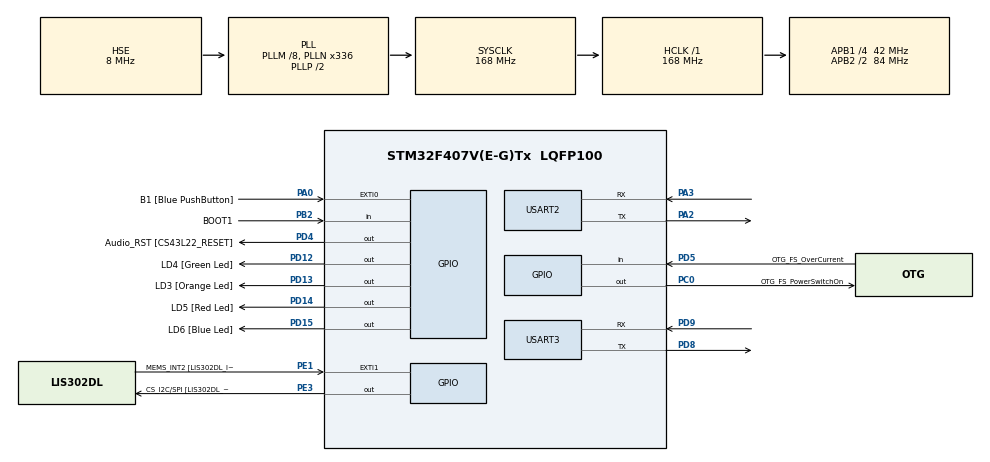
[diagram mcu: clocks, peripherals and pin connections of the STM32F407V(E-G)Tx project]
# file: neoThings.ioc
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FREERTOS.Queues01=workQueue,16,uint16_t,0,Dynamic,NULL,NULL
FREERTOS.Tasks01=modemTask,24,128,StartModemTask,Default,NULL,Dynamic,NULL,NULL;canbusTask,8,128,StartCanBus,Default,NULL,Dynamic,NULL,NULL
FREERTOS.configUSE_NEWLIB_REENTRANT=1
Mcu.Family=STM32F4
Mcu.Name=STM32F407V(E-G)Tx
Mcu.Package=LQFP100
NVIC.PriorityGroup=NVIC_PRIORITYGROUP_4
NVIC.TIM6_DAC_IRQn=true\:15\:0\:false\:false\:true\:false\:false\:true\:true
NVIC.TimeBase=TIM6_DAC_IRQn
NVIC.TimeBaseIP=TIM6
PA0-WKUP.GPIO_Label=B1 [Blue PushButton]
PA0-WKUP.GPIO_ModeDefaultEXTI=GPIO_MODE_EVT_RISING
PA0-WKUP.GPIO_PuPd=GPIO_NOPULL
PA0-WKUP.Signal=GPXTI0
PA10.GPIO_Label=OTG_FS_ID
PA10.GPIO_Mode=GPIO_MODE_AF_PP
PA10.GPIO_PuPd=GPIO_NOPULL
PA10.GPIO_Speed=GPIO_SPEED_FREQ_LOW
PA10.Signal=USB_OTG_FS_ID
PA11.GPIO_Label=OTG_FS_DM
PA11.GPIO_Mode=GPIO_MODE_AF_PP
PA11.GPIO_PuPd=GPIO_NOPULL
PA11.GPIO_Speed=GPIO_SPEED_FREQ_LOW
PA11.Signal=USB_OTG_FS_DM
PA12.GPIO_Label=OTG_FS_DP
PA12.GPIO_Mode=GPIO_MODE_AF_PP
PA12.GPIO_PuPd=GPIO_NOPULL
PA12.GPIO_Speed=GPIO_SPEED_FREQ_LOW
PA12.Signal=USB_OTG_FS_DP
PA13.GPIO_Label=SWDIO
PA13.Mode=Serial_Wire
PA13.Signal=SYS_JTMS-SWDIO
PA14.GPIO_Label=SWCLK
PA14.Mode=Serial_Wire
PA14.Signal=SYS_JTCK-SWCLK
PA2.Mode=Asynchronous
PA2.Signal=USART2_TX
PA3.Mode=Asynchronous
PA3.Signal=USART2_RX
PA4.GPIO_Label=I2S3_WS [CS43L22_LRCK]
PA4.GPIO_Mode=GPIO_MODE_AF_PP
PA4.GPIO_PuPd=GPIO_NOPULL
PA4.GPIO_Speed=GPIO_SPEED_FREQ_LOW
PA4.Signal=I2S3_WS
PA5.GPIO_Label=SPI1_SCK [LIS302DL_SCL/SPC]
PA5.GPIO_Mode=GPIO_MODE_AF_PP
PA5.GPIO_PuPd=GPIO_NOPULL
PA5.GPIO_Speed=GPIO_SPEED_FREQ_LOW
PA5.Signal=SPI1_SCK
PA6.GPIO_Label=SPI1_MISO [LIS302DL_SDO]
PA6.GPIO_Mode=GPIO_MODE_AF_PP
PA6.GPIO_PuPd=GPIO_NOPULL
PA6.GPIO_Speed=GPIO_SPEED_FREQ_LOW
PA6.Signal=SPI1_MISO
PA7.GPIO_Label=SPI1_MOSI [LIS302DL_SDA/SDI/SDO]
PA7.GPIO_Mode=GPIO_MODE_AF_PP
PA7.GPIO_PuPd=GPIO_NOPULL
PA7.GPIO_Speed=GPIO_SPEED_FREQ_LOW
PA7.Signal=SPI1_MOSI
PA9.GPIO_Label=VBUS_FS
PA9.GPIO_Mode=GPIO_MODE_INPUT
PA9.GPIO_PuPd=GPIO_NOPULL
PA9.Signal=USB_OTG_FS_VBUS
PB10.GPIO_Label=CLK_IN [MP45DT02_CLK]
PB10.GPIO_Mode=GPIO_MODE_AF_PP
PB10.GPIO_PuPd=GPIO_NOPULL
PB10.GPIO_Speed=GPIO_SPEED_FREQ_LOW
PB10.Signal=I2S2_CK
PB2.GPIO_Label=BOOT1
PB2.GPIO_Mode=GPIO_MODE_INPUT
PB2.GPIO_PuPd=GPIO_NOPULL
PB2.Signal=GPIO_Input
PB3.GPIO_Label=SWO
PB3.Signal=SYS_JTDO-SWO
PB6.GPIO_Label=Audio_SCL [CS43L22_SCL]
PB6.GPIO_Mode=GPIO_MODE_AF_OD
PB6.GPIO_Pu=GPIO_PULLUP
PB6.GPIO_PuPd=GPIO_NOPULL
PB6.GPIO_Speed=GPIO_SPEED_FREQ_LOW
PB6.Signal=I2C1_SCL
PB9.GPIO_Label=Audio_SDA [CS43L22_SDA]
PB9.GPIO_Mode=GPIO_MODE_AF_OD
PB9.GPIO_Pu=GPIO_PULLUP
PB9.GPIO_PuPd=GPIO_NOPULL
PB9.GPIO_Speed=GPIO_SPEED_FREQ_LOW
PB9.Signal=I2C1_SDA
PC0.GPIO_Label=OTG_FS_PowerSwitchOn
PC0.GPIO_PuPd=GPIO_NOPULL
PC0.GPIO_Speed=GPIO_SPEED_FREQ_LOW
PC0.PinState=GPIO_PIN_SET
PC0.Signal=GPIO_Output
PC10.GPIO_Label=I2S3_SCK [CS43L22_SCLK]
PC10.GPIO_Mode=GPIO_MODE_AF_PP
PC10.GPIO_PuPd=GPIO_NOPULL
PC10.GPIO_Speed=GPIO_SPEED_FREQ_LOW
PC10.Signal=I2S3_CK
PC12.GPIO_Label=I2S3_SD [CS43L22_SDIN]
PC12.GPIO_Mode=GPIO_MODE_AF_PP
PC12.GPIO_PuPd=GPIO_NOPULL
PC12.GPIO_Speed=GPIO_SPEED_FREQ_LOW
PC12.Signal=I2S3_SD
PC14-OSC32_IN.GPIO_Label=PC14-OSC32_IN
PC14-OSC32_IN.Mode=LSE-External-Oscillator
PC14-OSC32_IN.Signal=RCC_OSC32_IN
PC15-OSC32_OUT.GPIO_Label=PC15-OSC32_OUT
PC15-OSC32_OUT.Mode=LSE-External-Oscillator
PC15-OSC32_OUT.Signal=RCC_OSC32_OUT
PC3.GPIO_Label=PDM_OUT [MP45DT02_DOUT]
PC3.GPIO_Mode=GPIO_MODE_AF_PP
PC3.GPIO_PuPd=GPIO_NOPULL
PC3.GPIO_Speed=GPIO_SPEED_FREQ_LOW
PC3.Signal=I2S2_SD
PC7.GPIO_Label=I2S3_MCK [CS43L22_MCLK]
PC7.GPIO_Mode=GPIO_MODE_AF_PP
PC7.GPIO_PuPd=GPIO_NOPULL
PC7.GPIO_Speed=GPIO_SPEED_FREQ_LOW
PC7.Signal=I2S3_MCK
PD12.GPIO_Label=LD4 [Green Led]
PD12.GPIO_PuPd=GPIO_NOPULL
PD12.GPIO_Speed=GPIO_SPEED_FREQ_LOW
PD12.Signal=GPIO_Output
PD13.GPIO_Label=LD3 [Orange Led]
PD13.GPIO_PuPd=GPIO_NOPULL
PD13.GPIO_Speed=GPIO_SPEED_FREQ_LOW
PD13.Signal=GPIO_Output
PD14.GPIO_Label=LD5 [Red Led]
PD14.GPIO_PuPd=GPIO_NOPULL
PD14.GPIO_Speed=GPIO_SPEED_FREQ_LOW
PD14.Signal=GPIO_Output
PD15.GPIO_Label=LD6 [Blue Led]
PD15.GPIO_PuPd=GPIO_NOPULL
PD15.GPIO_Speed=GPIO_SPEED_FREQ_LOW
PD15.Signal=GPIO_Output
PD4.GPIO_Label=Audio_RST [CS43L22_RESET]
PD4.GPIO_PuPd=GPIO_NOPULL
PD4.GPIO_Speed=GPIO_SPEED_FREQ_LOW
PD4.Signal=GPIO_Output
PD5.GPIO_Label=OTG_FS_OverCurrent
PD5.GPIO_Mode=GPIO_MODE_INPUT
PD5.GPIO_PuPd=GPIO_NOPULL
PD5.Signal=GPIO_Input
PD8.Mode=Asynchronous
PD8.Signal=USART3_TX
PD9.Mode=Asynchronous
PD9.Signal=USART3_RX
PE1.GPIO_Label=MEMS_INT2 [LIS302DL_INT2]
PE1.GPIO_ModeDefaultEXTI=GPIO_MODE_EVT_RISING
PE1.GPIO_PuPd=GPIO_NOPULL
PE1.Signal=GPXTI1
PE3.GPIO_Label=CS_I2C/SPI [LIS302DL_CS_I2C/SPI]
PE3.GPIO_PuPd=GPIO_NOPULL
PE3.GPIO_Speed=GPIO_SPEED_FREQ_LOW
PE3.Signal=GPIO_Output
PH0-OSC_IN.GPIO_Label=PH0-OSC_IN
PH0-OSC_IN.Mode=HSE-External-Oscillator
PH0-OSC_IN.Signal=RCC_OSC_IN
PH1-OSC_OUT.GPIO_Label=PH1-OSC_OUT
PH1-OSC_OUT.Mode=HSE-External-Oscillator
PH1-OSC_OUT.Signal=RCC_OSC_OUT
ProjectManager.HeapSize=0x200
ProjectManager.StackSize=0x400
ProjectManager.TargetToolchain=STM32CubeIDE
RCC.48MHZClocksFreq_Value=48000000
RCC.AHBFreq_Value=168000000
RCC.APB1CLKDivider=RCC_HCLK_DIV4
RCC.APB1Freq_Value=42000000
RCC.APB1TimFreq_Value=84000000
RCC.APB2CLKDivider=RCC_HCLK_DIV2
RCC.APB2Freq_Value=84000000
RCC.APB2TimFreq_Value=168000000
RCC.CortexFreq_Value=168000000
RCC.HCLKFreq_Value=168000000
RCC.HSE_VALUE=8000000
RCC.HSI_VALUE=16000000
RCC.PLLM=8
RCC.PLLN=336
RCC.PLLQ=7
RCC.PLLSourceVirtual=RCC_PLLSOURCE_HSE
RCC.SYSCLKFreq_VALUE=168000000
RCC.SYSCLKSource=RCC_SYSCLKSOURCE_PLLCLK
RCC.VCOOutputFreq_Value=336000000
USART2.VirtualMode=VM_ASYNC
USART3.VirtualMode=VM_ASYNC
VP_FREERTOS_VS_CMSIS_V2.Mode=CMSIS_V2
VP_SYS_VS_tim6.Mode=TIM6
board=STM32F407G-DISC1

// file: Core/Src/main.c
/* USER CODE BEGIN Header */
/**
  ******************************************************************************
  * @file           : main.c
  * @brief          : Main program body
  ******************************************************************************
  * @attention
  *
  * Copyright (c) 2022 STMicroelectronics.
  * All rights reserved.
  *
  * This software is licensed under terms that can be found in the LICENSE file
  * in the root directory of this software component.
  * If no LICENSE file comes with this software, it is provided AS-IS.
  *
  ******************************************************************************
  */
/* USER CODE END Header */
#include "main.h"
#include "cmsis_os.h"

/* USER CODE BEGIN Includes */
#include <string.h>
/* USER CODE END Includes */

/* USER CODE BEGIN PD */
#define	HELLO_CAN_CMD	55
#define	MAX_PAYLOAD_CAN	50
#define	MAX_PAYLOAD_MODEM	50
#define	TIMEOUT_RX_CAN	300
/* USER CODE END PD */

UART_HandleTypeDef huart2;
UART_HandleTypeDef huart3;

/* Definitions for modemTask */
osThreadId_t modemTaskHandle;
const osThreadAttr_t modemTask_attributes = {
  .name = "modemTask",
  .stack_size = 128 * 4,
  .priority = (osPriority_t) osPriorityNormal,
};
/* Definitions for canbusTask */
osThreadId_t canbusTaskHandle;
const osThreadAttr_t canbusTask_attributes = {
  .name = "canbusTask",
  .stack_size = 128 * 4,
  .priority = (osPriority_t) osPriorityNormal,
};
/* Definitions for workQueue */
osMessageQueueId_t workQueueHandle;
const osMessageQueueAttr_t workQueue_attributes = {
  .name = "workQueue"
};

void SystemClock_Config(void);
static void MX_GPIO_Init(void);
static void MX_USART2_UART_Init(void);
static void MX_USART3_UART_Init(void);
void StartModemTask(void *argument);
void StartCanBus(void *argument);

int main(void)
{

  /* MCU Configuration--------------------------------------------------------*/

  /* Reset of all peripherals, Initializes the Flash interface and the Systick. */
  HAL_Init();

  /* Configure the system clock */
  SystemClock_Config();

  /* Initialize all configured peripherals */
  MX_GPIO_Init();
  MX_USART2_UART_Init();
  MX_USART3_UART_Init();

  /* Init scheduler */
  osKernelInitialize();

  /* Create the queue(s) */
  /* creation of workQueue */
  workQueueHandle = osMessageQueueNew (16, sizeof(uint16_t), &workQueue_attributes);

  /* Create the thread(s) */
  /* creation of modemTask */
  modemTaskHandle = osThreadNew(StartModemTask, NULL, &modemTask_attributes);

  /* creation of canbusTask */
  canbusTaskHandle = osThreadNew(StartCanBus, NULL, &canbusTask_attributes);

  /* Start scheduler */
  osKernelStart();

  /* We should never get here as control is now taken by the scheduler */
  /* Infinite loop */
  while (1)
  {

  }
}

void SystemClock_Config(void)
{
  RCC_OscInitTypeDef RCC_OscInitStruct = {0};
  RCC_ClkInitTypeDef RCC_ClkInitStruct = {0};

  /** Configure the main internal regulator output voltage
  */
  __HAL_RCC_PWR_CLK_ENABLE();
  __HAL_PWR_VOLTAGESCALING_CONFIG(PWR_REGULATOR_VOLTAGE_SCALE1);

  /** Initializes the RCC Oscillators according to the specified parameters
  * in the RCC_OscInitTypeDef structure.
  */
  RCC_OscInitStruct.OscillatorType = RCC_OSCILLATORTYPE_HSE;
  RCC_OscInitStruct.HSEState = RCC_HSE_ON;
  RCC_OscInitStruct.PLL.PLLState = RCC_PLL_ON;
  RCC_OscInitStruct.PLL.PLLSource = RCC_PLLSOURCE_HSE;
  RCC_OscInitStruct.PLL.PLLM = 8;
  RCC_OscInitStruct.PLL.PLLN = 336;
  RCC_OscInitStruct.PLL.PLLP = RCC_PLLP_DIV2;
  RCC_OscInitStruct.PLL.PLLQ = 7;
  if (HAL_RCC_OscConfig(&RCC_OscInitStruct) != HAL_OK)
  {
    Error_Handler();
  }

  /** Initializes the CPU, AHB and APB buses clocks
  */
  RCC_ClkInitStruct.ClockType = RCC_CLOCKTYPE_HCLK|RCC_CLOCKTYPE_SYSCLK
                              |RCC_CLOCKTYPE_PCLK1|RCC_CLOCKTYPE_PCLK2;
  RCC_ClkInitStruct.SYSCLKSource = RCC_SYSCLKSOURCE_PLLCLK;
  RCC_ClkInitStruct.AHBCLKDivider = RCC_SYSCLK_DIV1;
  RCC_ClkInitStruct.APB1CLKDivider = RCC_HCLK_DIV4;
  RCC_ClkInitStruct.APB2CLKDivider = RCC_HCLK_DIV2;

  if (HAL_RCC_ClockConfig(&RCC_ClkInitStruct, FLASH_LATENCY_5) != HAL_OK)
  {
    Error_Handler();
  }
}

static void MX_USART2_UART_Init(void)
{

  huart2.Instance = USART2;
  huart2.Init.BaudRate = 115200;
  huart2.Init.WordLength = UART_WORDLENGTH_8B;
  huart2.Init.StopBits = UART_STOPBITS_1;
  huart2.Init.Parity = UART_PARITY_NONE;
  huart2.Init.Mode = UART_MODE_TX_RX;
  huart2.Init.HwFlowCtl = UART_HWCONTROL_NONE;
  huart2.Init.OverSampling = UART_OVERSAMPLING_16;
  if (HAL_UART_Init(&huart2) != HAL_OK)
  {
    Error_Handler();
  }

}

static void MX_USART3_UART_Init(void)
{

  huart3.Instance = USART3;
  huart3.Init.BaudRate = 115200;
  huart3.Init.WordLength = UART_WORDLENGTH_8B;
  huart3.Init.StopBits = UART_STOPBITS_1;
  huart3.Init.Parity = UART_PARITY_NONE;
  huart3.Init.Mode = UART_MODE_TX_RX;
  huart3.Init.HwFlowCtl = UART_HWCONTROL_NONE;
  huart3.Init.OverSampling = UART_OVERSAMPLING_16;
  if (HAL_UART_Init(&huart3) != HAL_OK)
  {
    Error_Handler();
  }

}

static void MX_GPIO_Init(void)
{
  GPIO_InitTypeDef GPIO_InitStruct = {0};

  /* GPIO Ports Clock Enable */
  __HAL_RCC_GPIOE_CLK_ENABLE();
  __HAL_RCC_GPIOC_CLK_ENABLE();
  __HAL_RCC_GPIOH_CLK_ENABLE();
  __HAL_RCC_GPIOA_CLK_ENABLE();
  __HAL_RCC_GPIOB_CLK_ENABLE();
  __HAL_RCC_GPIOD_CLK_ENABLE();

  /*Configure GPIO pin Output Level */
  HAL_GPIO_WritePin(CS_I2C_SPI_GPIO_Port, CS_I2C_SPI_Pin, GPIO_PIN_RESET);

  /*Configure GPIO pin Output Level */
  HAL_GPIO_WritePin(OTG_FS_PowerSwitchOn_GPIO_Port, OTG_FS_PowerSwitchOn_Pin, GPIO_PIN_SET);

  /*Configure GPIO pin Output Level */
  HAL_GPIO_WritePin(GPIOD, LD4_Pin|LD3_Pin|LD5_Pin|LD6_Pin
                          |Audio_RST_Pin, GPIO_PIN_RESET);

  /*Configure GPIO pin : CS_I2C_SPI_Pin */
  GPIO_InitStruct.Pin = CS_I2C_SPI_Pin;
  GPIO_InitStruct.Mode = GPIO_MODE_OUTPUT_PP;
  GPIO_InitStruct.Pull = GPIO_NOPULL;
  GPIO_InitStruct.Speed = GPIO_SPEED_FREQ_LOW;
  HAL_GPIO_Init(CS_I2C_SPI_GPIO_Port, &GPIO_InitStruct);

  /*Configure GPIO pin : OTG_FS_PowerSwitchOn_Pin */
  GPIO_InitStruct.Pin = OTG_FS_PowerSwitchOn_Pin;
  GPIO_InitStruct.Mode = GPIO_MODE_OUTPUT_PP;
  GPIO_InitStruct.Pull = GPIO_NOPULL;
  GPIO_InitStruct.Speed = GPIO_SPEED_FREQ_LOW;
  HAL_GPIO_Init(OTG_FS_PowerSwitchOn_GPIO_Port, &GPIO_InitStruct);

  /*Configure GPIO pin : PDM_OUT_Pin */
  GPIO_InitStruct.Pin = PDM_OUT_Pin;
  GPIO_InitStruct.Mode = GPIO_MODE_AF_PP;
  GPIO_InitStruct.Pull = GPIO_NOPULL;
  GPIO_InitStruct.Speed = GPIO_SPEED_FREQ_LOW;
  GPIO_InitStruct.Alternate = GPIO_AF5_SPI2;
  HAL_GPIO_Init(PDM_OUT_GPIO_Port, &GPIO_InitStruct);

  /*Configure GPIO pin : B1_Pin */
  GPIO_InitStruct.Pin = B1_Pin;
  GPIO_InitStruct.Mode = GPIO_MODE_EVT_RISING;
  GPIO_InitStruct.Pull = GPIO_NOPULL;
  HAL_GPIO_Init(B1_GPIO_Port, &GPIO_InitStruct);

  /*Configure GPIO pin : I2S3_WS_Pin */
  GPIO_InitStruct.Pin = I2S3_WS_Pin;
  GPIO_InitStruct.Mode = GPIO_MODE_AF_PP;
  GPIO_InitStruct.Pull = GPIO_NOPULL;
  GPIO_InitStruct.Speed = GPIO_SPEED_FREQ_LOW;
  GPIO_InitStruct.Alternate = GPIO_AF6_SPI3;
  HAL_GPIO_Init(I2S3_WS_GPIO_Port, &GPIO_InitStruct);

  /*Configure GPIO pins : SPI1_SCK_Pin SPI1_MISO_Pin SPI1_MOSI_Pin */
  GPIO_InitStruct.Pin = SPI1_SCK_Pin|SPI1_MISO_Pin|SPI1_MOSI_Pin;
  GPIO_InitStruct.Mode = GPIO_MODE_AF_PP;
  GPIO_InitStruct.Pull = GPIO_NOPULL;
  GPIO_InitStruct.Speed = GPIO_SPEED_FREQ_LOW;
  GPIO_InitStruct.Alternate = GPIO_AF5_SPI1;
  HAL_GPIO_Init(GPIOA, &GPIO_InitStruct);

  /*Configure GPIO pin : BOOT1_Pin */
  GPIO_InitStruct.Pin = BOOT1_Pin;
  GPIO_InitStruct.Mode = GPIO_MODE_INPUT;
  GPIO_InitStruct.Pull = GPIO_NOPULL;
  HAL_GPIO_Init(BOOT1_GPIO_Port, &GPIO_InitStruct);

  /*Configure GPIO pin : CLK_IN_Pin */
  GPIO_InitStruct.Pin = CLK_IN_Pin;
  GPIO_InitStruct.Mode = GPIO_MODE_AF_PP;
  GPIO_InitStruct.Pull = GPIO_NOPULL;
  GPIO_InitStruct.Speed = GPIO_SPEED_FREQ_LOW;
  GPIO_InitStruct.Alternate = GPIO_AF5_SPI2;
  HAL_GPIO_Init(CLK_IN_GPIO_Port, &GPIO_InitStruct);

  /*Configure GPIO pins : LD4_Pin LD3_Pin LD5_Pin LD6_Pin
                           Audio_RST_Pin */
  GPIO_InitStruct.Pin = LD4_Pin|LD3_Pin|LD5_Pin|LD6_Pin
                          |Audio_RST_Pin;
  GPIO_InitStruct.Mode = GPIO_MODE_OUTPUT_PP;
  GPIO_InitStruct.Pull = GPIO_NOPULL;
  GPIO_InitStruct.Speed = GPIO_SPEED_FREQ_LOW;
  HAL_GPIO_Init(GPIOD, &GPIO_InitStruct);

  /*Configure GPIO pins : I2S3_MCK_Pin I2S3_SCK_Pin I2S3_SD_Pin */
  GPIO_InitStruct.Pin = I2S3_MCK_Pin|I2S3_SCK_Pin|I2S3_SD_Pin;
  GPIO_InitStruct.Mode = GPIO_MODE_AF_PP;
  GPIO_InitStruct.Pull = GPIO_NOPULL;
  GPIO_InitStruct.Speed = GPIO_SPEED_FREQ_LOW;
  GPIO_InitStruct.Alternate = GPIO_AF6_SPI3;
  HAL_GPIO_Init(GPIOC, &GPIO_InitStruct);

  /*Configure GPIO pin : VBUS_FS_Pin */
  GPIO_InitStruct.Pin = VBUS_FS_Pin;
  GPIO_InitStruct.Mode = GPIO_MODE_INPUT;
  GPIO_InitStruct.Pull = GPIO_NOPULL;
  HAL_GPIO_Init(VBUS_FS_GPIO_Port, &GPIO_InitStruct);

  /*Configure GPIO pins : OTG_FS_ID_Pin OTG_FS_DM_Pin OTG_FS_DP_Pin */
  GPIO_InitStruct.Pin = OTG_FS_ID_Pin|OTG_FS_DM_Pin|OTG_FS_DP_Pin;
  GPIO_InitStruct.Mode = GPIO_MODE_AF_PP;
  GPIO_InitStruct.Pull = GPIO_NOPULL;
  GPIO_InitStruct.Speed = GPIO_SPEED_FREQ_LOW;
  GPIO_InitStruct.Alternate = GPIO_AF10_OTG_FS;
  HAL_GPIO_Init(GPIOA, &GPIO_InitStruct);

  /*Configure GPIO pin : OTG_FS_OverCurrent_Pin */
  GPIO_InitStruct.Pin = OTG_FS_OverCurrent_Pin;
  GPIO_InitStruct.Mode = GPIO_MODE_INPUT;
  GPIO_InitStruct.Pull = GPIO_NOPULL;
  HAL_GPIO_Init(OTG_FS_OverCurrent_GPIO_Port, &GPIO_InitStruct);

  /*Configure GPIO pins : Audio_SCL_Pin Audio_SDA_Pin */
  GPIO_InitStruct.Pin = Audio_SCL_Pin|Audio_SDA_Pin;
  GPIO_InitStruct.Mode = GPIO_MODE_AF_OD;
  GPIO_InitStruct.Pull = GPIO_PULLUP;
  GPIO_InitStruct.Speed = GPIO_SPEED_FREQ_LOW;
  GPIO_InitStruct.Alternate = GPIO_AF4_I2C1;
  HAL_GPIO_Init(GPIOB, &GPIO_InitStruct);

  /*Configure GPIO pin : MEMS_INT2_Pin */
  GPIO_InitStruct.Pin = MEMS_INT2_Pin;
  GPIO_InitStruct.Mode = GPIO_MODE_EVT_RISING;
  GPIO_InitStruct.Pull = GPIO_NOPULL;
  HAL_GPIO_Init(MEMS_INT2_GPIO_Port, &GPIO_InitStruct);

}

void StartModemTask(void *argument)
{
  /* USER CODE BEGIN 5 */
  char rx_buff[MAX_PAYLOAD_MODEM+1];
  uint8_t pos = 0;
  rx_buff[0] = '\0';
  /* Infinite loop */
  for(;;)
  {
    uint8_t rx_data;
    HAL_UART_Receive( &huart2, &rx_data, 1, HAL_MAX_DELAY );

    rx_buff[pos] = rx_data;
    pos++;

    if( rx_data == '\n' || pos == MAX_PAYLOAD_MODEM )
    {
	  rx_buff[pos] = '\0';
	  HAL_UART_Transmit( &huart2, (uint8_t *)rx_buff, strlen(rx_buff), HAL_MAX_DELAY);
	  if( strcmp(rx_buff, "AT\r\n" ) == 0 )
	  {
		HAL_UART_Transmit( &huart2, (uint8_t *)"OK\r\n", sizeof("OK\r\n"), HAL_MAX_DELAY);
		uint16_t send_work = HELLO_CAN_CMD;
		osMessageQueuePut(workQueueHandle, &send_work, 0, 0);
	  }
	  pos = 0;
    }
  }
  /* USER CODE END 5 */
}

void StartCanBus(void *argument)
{
  /* USER CODE BEGIN StartCanBus */
  uint16_t cmd;
  char can_buff[MAX_PAYLOAD_CAN+1];
  /* Infinite loop */
  for(;;)
  {
	if( osMessageQueueGet(workQueueHandle, &cmd, NULL, 0 ) == osOK )
	{
	  if( cmd == HELLO_CAN_CMD )
	  {
		HAL_UART_Transmit( &huart3, (uint8_t *)"Hello CAN\n", sizeof("Hello CAN\n") ,HAL_MAX_DELAY );
	    HAL_UART_Receive( &huart3, (uint8_t *)can_buff, MAX_PAYLOAD_CAN, TIMEOUT_RX_CAN );
		/* parse response */
	  }
	}
  }
  /* USER CODE END StartCanBus */
}

void HAL_TIM_PeriodElapsedCallback(TIM_HandleTypeDef *htim)
{
  if (htim->Instance == TIM6) {
    HAL_IncTick();
  }
}

void Error_Handler(void)
{
  __disable_irq();
  while (1)
  {
  }
}
